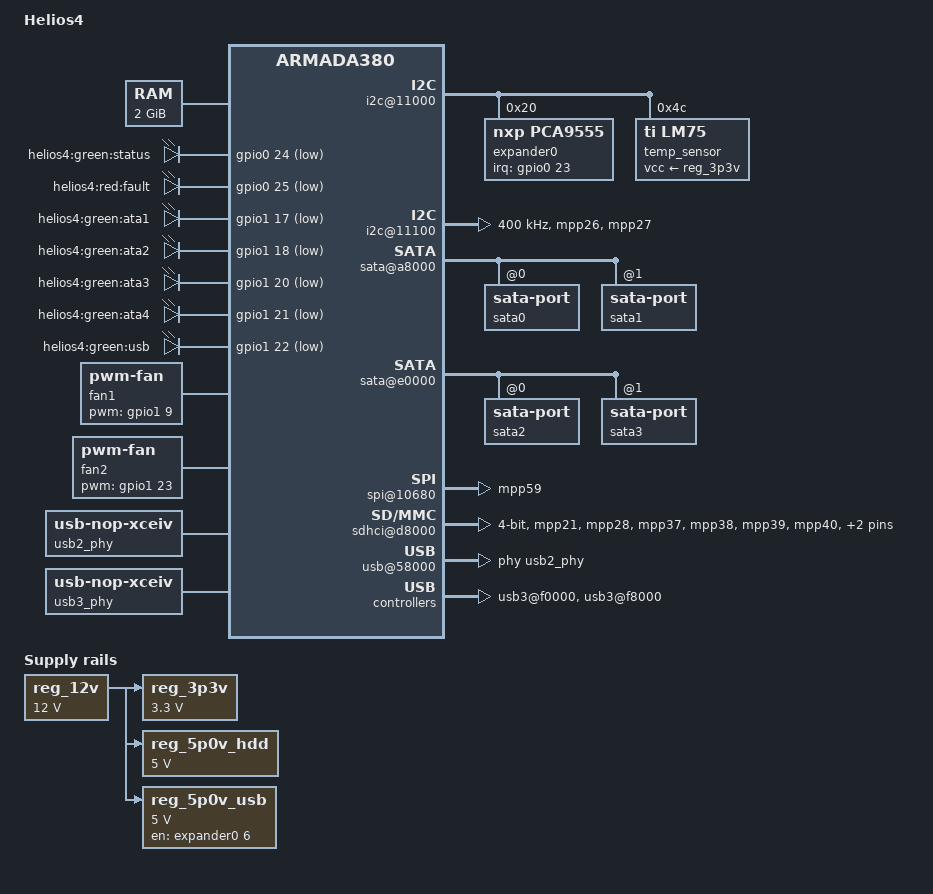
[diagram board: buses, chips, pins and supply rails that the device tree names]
// SPDX-License-Identifier: (GPL-2.0 OR MIT)
/*
 * Device Tree file for Helios4
 * based on SolidRun Clearfog revision A1 rev 2.0 (88F6828)
 *
 *  Copyright (C) 2017 Aditya Prayoga <aditya@kobol.io>
 *
 */

/dts-v1/;
#include "armada-388.dtsi"
#include "armada-38x-solidrun-microsom.dtsi"

/ {
	model = "Helios4";
	compatible = "kobol,helios4", "marvell,armada388",
		"marvell,armada385", "marvell,armada380";

	memory {
		device_type = "memory";
		reg = <0x00000000 0x80000000>; /* 2 GB */
	};

	aliases {
		/* So that mvebu u-boot can update the MAC addresses */
		ethernet1 = &eth0;
	};

	chosen {
		stdout-path = "serial0:115200n8";
	};

	reg_12v: regulator-12v {
		compatible = "regulator-fixed";
		regulator-name = "power_brick_12V";
		regulator-min-microvolt = <12000000>;
		regulator-max-microvolt = <12000000>;
		regulator-always-on;
	};

	reg_3p3v: regulator-3p3v {
		compatible = "regulator-fixed";
		regulator-name = "3P3V";
		regulator-min-microvolt = <3300000>;
		regulator-max-microvolt = <3300000>;
		regulator-always-on;
		vin-supply = <&reg_12v>;
	};

	reg_5p0v_hdd: regulator-5v-hdd {
		compatible = "regulator-fixed";
		regulator-name = "5V_HDD";
		regulator-min-microvolt = <5000000>;
		regulator-max-microvolt = <5000000>;
		regulator-always-on;
		vin-supply = <&reg_12v>;
	};

	reg_5p0v_usb: regulator-5v-usb {
		compatible = "regulator-fixed";
		regulator-name = "USB-PWR";
		regulator-min-microvolt = <5000000>;
		regulator-max-microvolt = <5000000>;
		regulator-boot-on;
		regulator-always-on;
		enable-active-high;
		gpio = <&expander0 6 GPIO_ACTIVE_HIGH>;
		vin-supply = <&reg_12v>;
	};

	system-leds {
		compatible = "gpio-leds";
		status-led {
			label = "helios4:green:status";
			gpios = <&gpio0 24 GPIO_ACTIVE_LOW>;
			linux,default-trigger = "heartbeat";
			default-state = "on";
		};

		fault-led {
			label = "helios4:red:fault";
			gpios = <&gpio0 25 GPIO_ACTIVE_LOW>;
			default-state = "keep";
		};
	};

	io-leds {
		compatible = "gpio-leds";
		sata1-led {
			label = "helios4:green:ata1";
			gpios = <&gpio1 17 GPIO_ACTIVE_LOW>;
			linux,default-trigger = "ata1";
			default-state = "off";
		};
		sata2-led {
			label = "helios4:green:ata2";
			gpios = <&gpio1 18 GPIO_ACTIVE_LOW>;
			linux,default-trigger = "ata2";
			default-state = "off";
		};
		sata3-led {
			label = "helios4:green:ata3";
			gpios = <&gpio1 20 GPIO_ACTIVE_LOW>;
			linux,default-trigger = "ata3";
			default-state = "off";
		};
		sata4-led {
			label = "helios4:green:ata4";
			gpios = <&gpio1 21 GPIO_ACTIVE_LOW>;
			linux,default-trigger = "ata4";
			default-state = "off";
		};
		usb-led {
			label = "helios4:green:usb";
			gpios = <&gpio1 22 GPIO_ACTIVE_LOW>;
			linux,default-trigger = "usb-host";
			default-state = "off";
		};
	};

	fan1: j10-pwm {
		compatible = "pwm-fan";
		pwms = <&gpio1 9 40000>;	/* Target freq:25 kHz */
	};

	fan2: j17-pwm {
		compatible = "pwm-fan";
		pwms = <&gpio1 23 40000>;	/* Target freq:25 kHz */
	};

	usb2_phy: usb2-phy {
		compatible = "usb-nop-xceiv";
		vbus-regulator = <&reg_5p0v_usb>;
	};

	usb3_phy: usb3-phy {
		compatible = "usb-nop-xceiv";
	};

	soc {
		internal-regs {
			i2c@11000 {
				/*
				 * PCA9655 GPIO expander, up to 1MHz clock.
				 *  0-Board Revision bit 0 #
				 *  1-Board Revision bit 1 #
				 *  5-USB3 overcurrent
				 *  6-USB3 power
				 */
				expander0: gpio-expander@20 {
					/*
					 * This is how it should be:
					 * compatible = "onnn,pca9655",
					 *	 "nxp,pca9555";
					 * but you can't do this because of
					 * the way I2C works.
					 */
					compatible = "nxp,pca9555";
					gpio-controller;
					#gpio-cells = <2>;
					reg = <0x20>;
					pinctrl-names = "default";
					pinctrl-0 = <&pca0_pins>;
					interrupt-parent = <&gpio0>;
					interrupts = <23 IRQ_TYPE_EDGE_FALLING>;
					interrupt-controller;
					#interrupt-cells = <2>;

					board-rev-bit-0-hog {
						gpio-hog;
						gpios = <0 GPIO_ACTIVE_LOW>;
						input;
						line-name = "board-rev-0";
					};
					board-rev-bit-1-hog {
						gpio-hog;
						gpios = <1 GPIO_ACTIVE_LOW>;
						input;
						line-name = "board-rev-1";
					};
					usb3-ilimit-hog {
						gpio-hog;
						gpios = <5 GPIO_ACTIVE_HIGH>;
						input;
						line-name = "usb-overcurrent-status";
					};
				};

				temp_sensor: temp@4c {
					compatible = "ti,lm75";
					reg = <0x4c>;
					vcc-supply = <&reg_3p3v>;
				};
			};

			i2c@11100 {
				/*
				 * External I2C Bus for user peripheral
				 */
				clock-frequency = <400000>;
				pinctrl-0 = <&helios_i2c1_pins>;
				pinctrl-names = "default";
				status = "okay";
			};

			sata@a8000 {
				status = "okay";
				#address-cells = <1>;
				#size-cells = <0>;

				sata0: sata-port@0 {
					reg = <0>;
				};

				sata1: sata-port@1 {
					reg = <1>;
				};
			};

			sata@e0000 {
				status = "okay";
				#address-cells = <1>;
				#size-cells = <0>;

				sata2: sata-port@0 {
					reg = <0>;
				};

				sata3: sata-port@1 {
					reg = <1>;
				};
			};

			spi@10680 {
				pinctrl-0 = <&spi1_pins
					     &microsom_spi1_cs_pins>;
				pinctrl-names = "default";
				status = "okay";
			};

			sdhci@d8000 {
				bus-width = <4>;
				cd-gpios = <&gpio0 20 GPIO_ACTIVE_LOW>;
				no-1-8-v;
				pinctrl-0 = <&helios_sdhci_pins
					     &helios_sdhci_cd_pins>;
				pinctrl-names = "default";
				status = "okay";
				vmmc = <&reg_3p3v>;
				wp-inverted;
			};

			usb@58000 {
				usb-phy = <&usb2_phy>;
				status = "okay";
			};

			usb3@f0000 {
				status = "okay";
			};

			usb3@f8000 {
				status = "okay";
			};

			pinctrl@18000 {
				pca0_pins: pca0-pins {
					marvell,pins = "mpp23";
					marvell,function = "gpio";
				};
				microsom_phy0_int_pins: microsom-phy0-int-pins {
					marvell,pins = "mpp18";
					marvell,function = "gpio";
				};
				helios_i2c1_pins: i2c1-pins {
					marvell,pins = "mpp26", "mpp27";
					marvell,function = "i2c1";
				};
				helios_sdhci_cd_pins: helios-sdhci-cd-pins {
					marvell,pins = "mpp20";
					marvell,function = "gpio";
				};
				helios_sdhci_pins: helios-sdhci-pins {
					marvell,pins = "mpp21", "mpp28",
						       "mpp37", "mpp38",
						       "mpp39", "mpp40";
					marvell,function = "sd0";
				};
				helios_led_pins: helios-led-pins {
					marvell,pins = "mpp24", "mpp25",
						       "mpp49", "mpp50",
						       "mpp52", "mpp53",
						       "mpp54";
					marvell,function = "gpio";
				};
				helios_fan_pins: helios-fan-pins {
					marvell,pins = "mpp41", "mpp43",
						       "mpp48", "mpp55";
					marvell,function = "gpio";
				};
				microsom_spi1_cs_pins: spi1-cs-pins {
					marvell,pins = "mpp59";
					marvell,function = "spi1";
				};
			};
		};
	};
};
